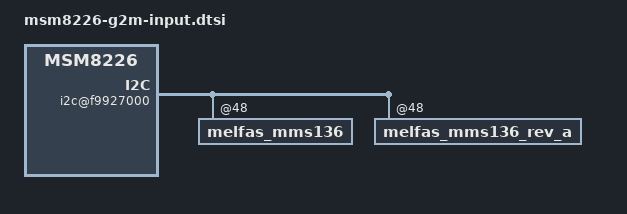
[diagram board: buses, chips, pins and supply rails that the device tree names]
/* Copyright (c) 2013, LGE Electronics. All rights reserved.
 *
 * This program is free software; you can redistribute it and/or modify
 * it under the terms of the GNU General Public License version 2 and
 * only version 2 as published by the Free Software Foundation.
 *
 * This program is distributed in the hope that it will be useful,
 * but WITHOUT ANY WARRANTY; without even the implied warranty of
 * MERCHANTABILITY or FITNESS FOR A PARTICULAR PURPOSE.  See the
 * GNU General Public License for more details.
 */

&soc {
	gpio_keys {
		home {
			unused;
		};

		quick_clip {
			unused;
		};
	};

	i2c@f9927000 { /* BLSP1 QUP5 */
		melfas_mms136@48 {
			melfas,product = "S0A47A";
			melfas,fw-image-name = "melfas/g2m_vdf_eu/g2m_vdf_eu_rev_0_v101.mfsb";
			melfas,panel-spec-name = "melfas/g2m_vdf_eu/g2m_vdf_eu_limit.txt";
			vdd-supply = <0>;
			melfas,ce = <60>;
			melfas,button-map = <0>;
			melfas,enalbe_active_mode = <0>;
			revision = "rev_0";
			status ="ok";
		};

		melfas_mms136_rev_a@48 {
			melfas,product = "S0A47A";
			melfas,fw-image-name = "melfas/g2m_vdf_eu/g2m_vdf_eu_rev_0_v101.mfsb";
			melfas,panel-spec-name = "melfas/g2m_vdf_eu/g2m_vdf_eu_limit.txt";
			vdd-supply = <0>;
			melfas,ce = <60>;
			melfas,button-map = <0>;
			melfas,enalbe_active_mode = <0>;
			revision = "rev_a...";
			status = "ok";
		};

		lge_touch@48 {
			lge,product = "S0A47A";
			lge,fw_image = "melfas/g2m_vdf_eu/g2m_vdf_eu_rev_0_v101.mfsb";
			lge,panel_spec = "melfas/g2m_vdf_eu/g2m_vdf_eu_limit.txt";
			revision = "rev_0...";
			status = "disable";
		};

		lge_ts_misc {
			revision = "rev_0...";
			vdd_on = <1>;
			vio_l19_on = <1>;
			vio_lvs1_on = <1>;
			irq_wake = <0>;
			status ="ok";
		};
	};
};
